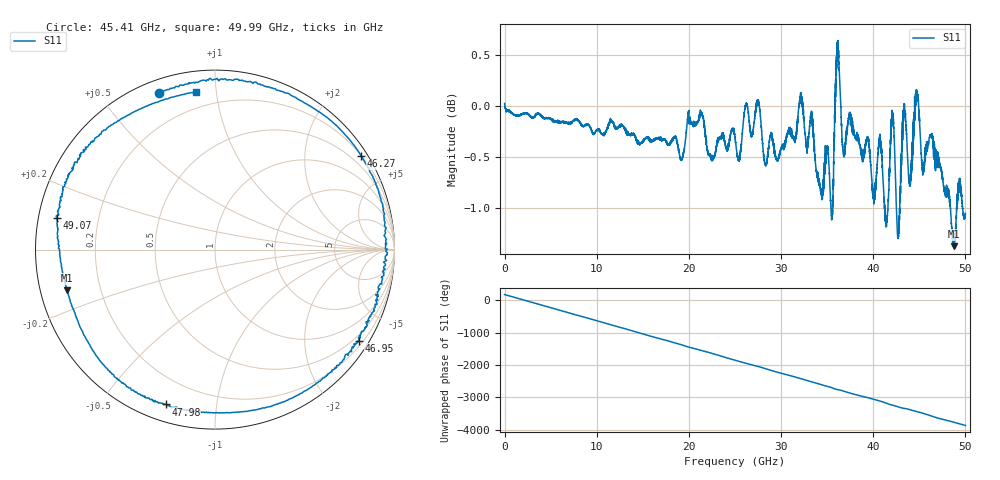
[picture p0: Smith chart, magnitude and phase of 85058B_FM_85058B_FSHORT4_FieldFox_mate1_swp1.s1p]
!Created with skrf (http://scikit-rf.org).
# Hz S RI R 50.0
!freq ReS11 ImS11
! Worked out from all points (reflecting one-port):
!   10000 points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, 5.3 MHz to 50 GHz, reference 50 ohm
!   lowest |S11| = -1.4 dB at 48.74 GHz (marker M1), VSWR 12.70, Z = 4.01 - j6.7 ohm
!   phase of S11 starts at 180 deg and turns -4044 deg over the sweep
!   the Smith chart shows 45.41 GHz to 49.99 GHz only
!   S11 on the Smith chart (normalised r, x): 45.41 GHz: 0.06, +0.71; 46.27 GHz: 0.21, +3.42; 46.95 GHz: 0.33, -3.43; 47.98 GHz: 0.08, -0.73; 49.07 GHz: 0.05, +0.10; 49.99 GHz: 0.11, +0.88
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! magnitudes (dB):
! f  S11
! 5.3 MHz  0.0
! 6.255 GHz  -0.1
! 12.51 GHz  -0.2
! 18.76 GHz  -0.4
! 25.01 GHz  -0.3
! 27.47 GHz  0.1
! 31.26 GHz  -0.3
! 32.18 GHz  0.1
! 35.45 GHz  -1.1
! 36.11 GHz  0.5
! 36.78 GHz  -0.5
! 37.51 GHz  -0.1
! 40.07 GHz  -0.9
! 40.75 GHz  -0.3
! 41.4 GHz  -1.1
! 42.07 GHz  -0.1
! 42.69 GHz  -1.3
! 43.32 GHz  0.0
! 43.76 GHz  -0.6
! 44.75 GHz  0.1
! 45.41 GHz  -0.7
! 46.27 GHz  -0.3
! 46.95 GHz  -0.4
! 47.98 GHz  -0.9
! 48.74 GHz  -1.4
! 49.07 GHz  -0.9
! 49.99 GHz  -1.1
! 50 GHz  -1.0
